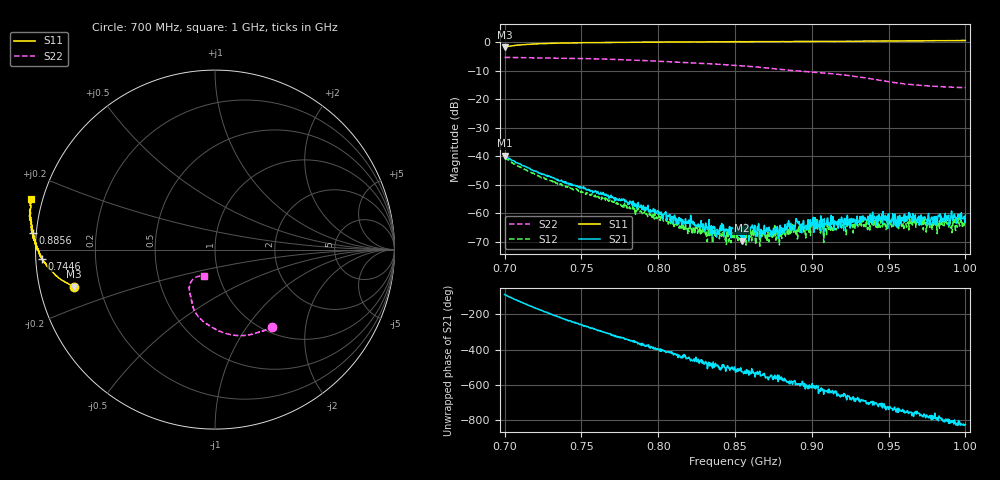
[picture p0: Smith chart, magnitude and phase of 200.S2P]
! C:\Users\rflab\Downloads\Lab5_KD_ZW\Q2\728 MHz\200.S2P
! Touchstone 1.1 file saved by VNA.EXE V1.65 (www.ke5fx.com/gpib/readme.htm)
! 11/18/2024 9:22:11 PM
!  Source: HEWLETT PACKARD,8753D,0,6.14
!  Min freq: 7.000000E+008 Hz
!  Max freq: 1.000000E+009 Hz
!  Points: 801
!  Params: S11 S21 S12 S22
# GHZ S MA R 50
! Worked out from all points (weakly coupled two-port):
!   801 points, 700 MHz to 1 GHz, reference 50 ohm
!   highest |S21| = -39.89 dB at 700 MHz (marker M1); lowest = -69.6 dB at 854.5 MHz (marker M2)
!   lowest |S11| = -1.8 dB at 700 MHz (marker M3), VSWR 9.61, Z = 5.29 - j6.38 ohm
!   |S11| at or under -10 dB: nowhere
!   |S22| runs from -16.0 to -5.4 dB; largest |S21 - S12| = 0.0032
!   S11 on the Smith chart (normalised r, x): 700 MHz: 0.11, -0.13; 744.6 MHz: 0.02, -0.03; 885.6 MHz: -0.01, +0.04; 1 GHz: -0.03, +0.14
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0.7  0.8116 -165.3  0.01013 -86.9  0.009439 -104.8  0.5363 -53.5
0.744625  0.9651 -177.1  0.003044 116.0  0.002557 96.4  0.5147 -66.2
0.75025  0.9706 -177.5  0.00279 101.2  0.002329 82.3  0.5118 -68.1
0.800125  0.995 178.9  0.001053 -41.7  0.000977 -60.9  0.4607 -85.5
0.830875  1.003 177.2  0.000673 -107.6  0.000424 -147.2  0.4186 -95.8
0.83875  1.009 177.1  0.000494 -128.0  0.000434 -135.2  0.4082 -98.5
0.841  1.008 177.0  0.000492 -142.6  0.000409 -148.3  0.4044 -99.4
0.84475  1.009 176.7  0.000509 -143.1  0.000502 -159.3  0.3982 -100.8
0.85  1.012 176.4  0.000435 -145.8  0.000492 -172.1  0.3911 -102.7
0.8545  1.012 176.4  0.00033 -164.5  0.000378 -176.4  0.3826 -104.4
0.86125  1.013 176.0  0.000621 -171.8  0.000431 168.8  0.3697 -106.8
0.865  1.017 176.0  0.000512 178.6  0.000471 155.3  0.3618 -108.1
0.879625  1.018 175.2  0.000425 152.5  0.000475 146.2  0.3313 -112.6
0.885625  1.017 174.9  0.000512 140.8  0.000647 136.0  0.3199 -113.9
0.90025  1.023 174.2  0.000623 126.1  0.000637 82.7  0.2964 -116.9
0.908125  1.026 174.0  0.000797 89.7  0.000611 75.2  0.2852 -119.0
0.917875  1.028 173.3  0.000746 56.5  0.000658 40.3  0.2696 -121.9
0.938125  1.037 171.9  0.000959 16.0  0.000765 12.3  0.2276 -126.5
0.950125  1.044 170.9  0.000974 -21.6  0.000775 -26.5  0.2016 -126.2
0.98725  1.053 166.7  0.000725 -75.4  0.000729 -94.6  0.1628 -116.9
0.992125  1.06 166.1  0.000746 -88.1  0.000715 -115.2  0.1609 -115.5
1  1.061 164.5  0.000917 -106.8  0.000723 -127.1  0.1593 -112.3
